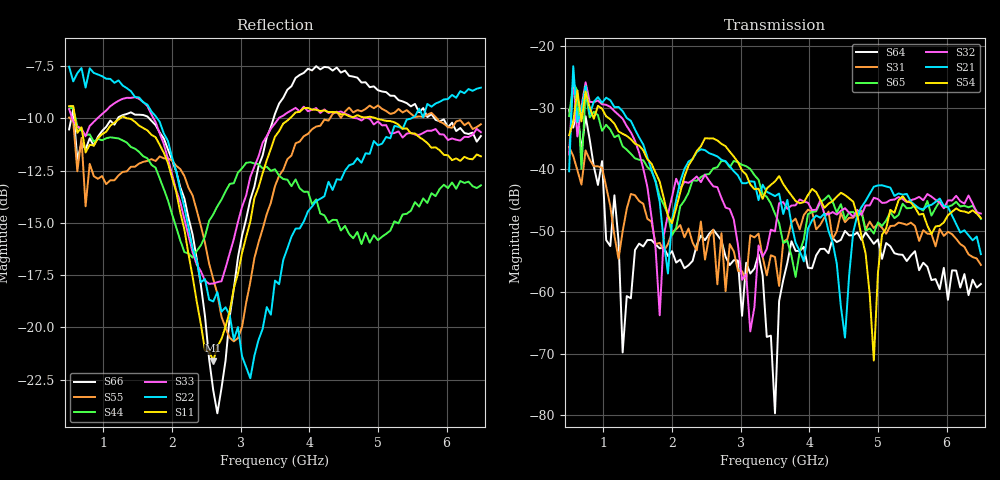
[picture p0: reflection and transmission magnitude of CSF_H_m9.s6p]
!Keysight Technologies,M9804A,MY58100912,A.14.10.03
!Date: Thursday, April 27, 2023 10:28:33
!Correction: S11(C  6-Port  )
!S12(C  6-Port  )
!S13(C  6-Port  )
!S14(C  6-Port  )
!S15(C  6-Port  )
!S16(C  6-Port  )
!S21(C  6-Port  )
!S22(C  6-Port  )
!S23(C  6-Port  )
!S24(C  6-Port  )
!S25(C  6-Port  )
!S26(C  6-Port  )
!S31(C  6-Port  )
!S32(C  6-Port  )
!S33(C  6-Port  )
!S34(C  6-Port  )
!S35(C  6-Port  )
!S36(C  6-Port  )
!S41(C  6-Port  )
!S42(C  6-Port  )
!S43(C  6-Port  )
!S44(C  6-Port  )
!S45(C  6-Port  )
!S46(C  6-Port  )
!S51(C  6-Port  )
!S52(C  6-Port  )
!S53(C  6-Port  )
!S54(C  6-Port  )
!S55(C  6-Port  )
!S56(C  6-Port  )
!S61(C  6-Port  )
!S62(C  6-Port  )
!S63(C  6-Port  )
!S64(C  6-Port  )
!S65(C  6-Port  )
!S66(C  6-Port  )
!S6P File: Measurement: :
# Hz S  RI  R 50
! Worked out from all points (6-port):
!   101 points, 500 MHz to 6.5 GHz, reference 50 ohm
!   strongest paths, dB at 500 MHz, 2 GHz, 3.5 GHz, 5 GHz, 6.5 GHz:
!     S54: -34.4, -48.8, -42.0, -56.9, -48.0
!     S21: -40.3, -48.2, -44.4, -42.6, -53.8
!     S32: -37.6, -44.5, -50.1, -44.9, -47.2
!     S65: -31.4, -50.8, -47.2, -48.6, -48.1
!     S31: -36.4, -50.3, -54.3, -48.9, -55.6
!     S64: -30.4, -53.3, -79.7, -51.4, -58.7
!   lowest |S11| = -21.6 dB at 2.6 GHz (marker M1), VSWR 1.18, Z = 42.6 + j2.03 ohm
!   |S11| at or under -10 dB: 587.8 MHz to 1.24 GHz (652.6 MHz wide, 71.4 % of centre); 1.358 GHz to 3.714 GHz (2.356 GHz wide, 92.9 % of centre); 4.977 GHz to end of sweep
